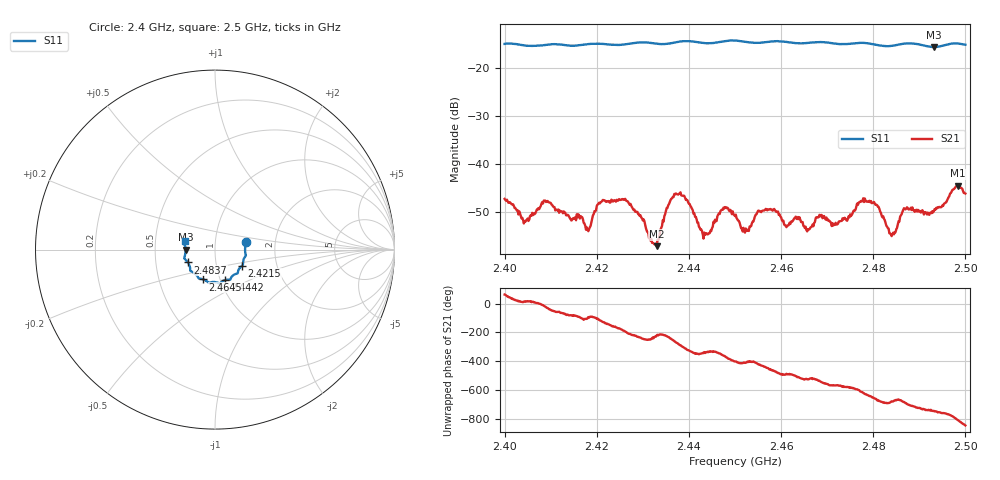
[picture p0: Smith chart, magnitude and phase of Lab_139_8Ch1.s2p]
# Hz S RI R 50
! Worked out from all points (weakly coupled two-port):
!   601 points, 2.4 GHz to 2.5 GHz, reference 50 ohm
!   highest |S21| = -44.58 dB at 2.4983 GHz (marker M1); lowest = -57.2 dB at 2.433 GHz (marker M2)
!   lowest |S11| = -15.7 dB at 2.4932 GHz (marker M3), VSWR 1.39, Z = 35.9 - j0.0561 ohm
!   |S11| at or under -10 dB: start of sweep to end of sweep
!   S12 and S22 are empty: the file has one direction only
!   S11 on the Smith chart (normalised r, x): 2.4 GHz: 1.41, +0.12; 2.4215 GHz: 1.33, -0.25; 2.4442 GHz: 1.05, -0.37; 2.4645 GHz: 0.83, -0.29; 2.4837 GHz: 0.73, -0.11; 2.5 GHz: 0.71, +0.07
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2.4e9  0.1714 0.0404  0.00194 0.00383  0 0  0 0
2.404333e9  0.1687 0.0164  0.00241 0.000695  0 0  0 0
2.409e9  0.17 -0.0255  0.00363 -0.00165  0 0  0 0
2.416667e9  0.1569 -0.0698  -0.00063 -0.00272  0 0  0 0
2.418167e9  0.1556 -0.0798  -0.000119 -0.00198  0 0  0 0
2.4215e9  0.151 -0.0897  -0.00265 -0.00322  0 0  0 0
2.4265e9  0.1292 -0.1179  -0.00379 0.00155  0 0  0 0
2.433e9  0.1108 -0.1372  -0.00104 0.000913  0 0  0 0
2.433333e9  0.1082 -0.1384  -0.0012 0.00107  0 0  0 0
2.437667e9  0.0869 -0.1633  0.000831 0.00469  0 0  0 0
2.444167e9  0.0565 -0.1694  0.00172 0.00068  0 0  0 0
2.4475e9  0.0325 -0.1843  0.00348 -0.000112  0 0  0 0
2.45e9  0.0252 -0.1891  0.0021 -0.00192  0 0  0 0
2.4645e9  -0.0659 -0.1661  -0.00235 -0.000746  0 0  0 0
2.466667e9  -0.0827 -0.162  -0.00207 -0.0008  0 0  0 0
2.477833e9  -0.1377 -0.1167  -0.000578 0.00432  0 0  0 0
2.483333e9  -0.1489 -0.0749  0.00186 0.000997  0 0  0 0
2.483667e9  -0.1509 -0.0717  0.00159 0.000992  0 0  0 0
2.487e9  -0.1702 -0.0508  0.00296 0.00154  0 0  0 0
2.493167e9  -0.1635 -0.000759  0.00287 -0.00146  0 0  0 0
2.498333e9  -0.1728 0.042  -4.53e-05 -0.0059  0 0  0 0
2.5e9  -0.165 0.0506  -0.00302 -0.00384  0 0  0 0
